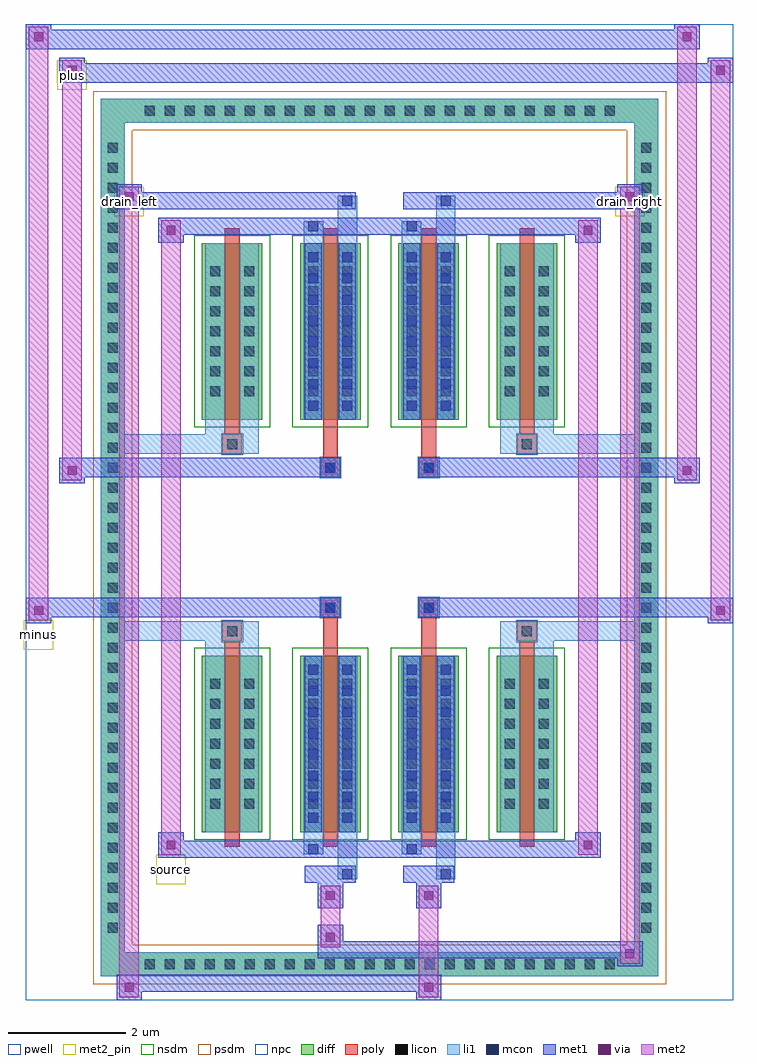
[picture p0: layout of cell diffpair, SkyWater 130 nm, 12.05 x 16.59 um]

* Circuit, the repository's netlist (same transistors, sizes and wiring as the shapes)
* NGSPICE file created from diffpair.ext - technology: sky130A

.subckt diffpair minus drain_right drain_left source plus
X0 a_n948_n1492# a_n948_n1492# a_n948_n1492# a_n948_n1492# sky130_fd_pr__nfet_01v8 ad=1.17 pd=6.78 as=9.36 ps=54.24 w=3 l=0.25
X1 drain_right minus source a_n948_n1492# sky130_fd_pr__nfet_01v8 ad=1.17 pd=6.78 as=1.17 ps=6.78 w=3 l=0.25
X2 a_n948_n1492# a_n948_n1492# a_n948_n1492# a_n948_n1492# sky130_fd_pr__nfet_01v8 ad=1.17 pd=6.78 as=0 ps=0 w=3 l=0.25
X3 a_n948_n1492# a_n948_n1492# a_n948_n1492# a_n948_n1492# sky130_fd_pr__nfet_01v8 ad=1.17 pd=6.78 as=0 ps=0 w=3 l=0.25
X4 drain_left plus source a_n948_n1492# sky130_fd_pr__nfet_01v8 ad=1.17 pd=6.78 as=1.17 ps=6.78 w=3 l=0.25
X5 drain_left plus source a_n948_n1492# sky130_fd_pr__nfet_01v8 ad=1.17 pd=6.78 as=1.17 ps=6.78 w=3 l=0.25
X6 drain_right minus source a_n948_n1492# sky130_fd_pr__nfet_01v8 ad=1.17 pd=6.78 as=1.17 ps=6.78 w=3 l=0.25
X7 a_n948_n1492# a_n948_n1492# a_n948_n1492# a_n948_n1492# sky130_fd_pr__nfet_01v8 ad=1.17 pd=6.78 as=0 ps=0 w=3 l=0.25
.ends

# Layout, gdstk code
import gdstk
lib = gdstk.Library(unit=1e-6, precision=5e-09)
def R(c, l, rs):  # rectangles x0, y0, x1, y1
    for r in rs: c.add(gdstk.rectangle(r[:2], r[2:], *l))
def A(c, l, x, y, w, h, nx, ny, dx, dy):  # array of equal rectangles
    R(c, l, [(x+i*dx, y+j*dy, x+i*dx+w, y+j*dy+h) for i in range(nx) for j in range(ny)])
def P(c, l, *ps):  # polygons
    for p in ps: c.add(gdstk.Polygon(p, *l))
pwell = (64, 44)
diff = (65, 20)
poly = (66, 20)
licon = (66, 44)
li1 = (67, 20)
mcon = (67, 44)
met1 = (68, 20)
via = (68, 44)
met2_pin = (69, 16)
met2 = (69, 20)
nsdm = (93, 44)
psdm = (94, 20)
npc = (95, 20)

diffpair = lib.new_cell('diffpair')
R(diffpair, pwell, [(-6.01,-7.86,6.01,8.73), (-3.33,-6.05,-0.01,-0.825), (0.01,-6.05,3.33,-0.825), (-3.33,0.825,-0.01,6.05), (0.01,0.825,3.33,6.05)])
A(diffpair, diff, -4.115, -7.46, 0.41, 0.41, 24, 2, 0.34, 14.51)
A(diffpair, diff, -4.74, -6.835, 0.41, 0.41, 1, 40, 0, 0.34)
A(diffpair, diff, 4.33, -6.835, 0.41, 0.41, 1, 40, 0, 0.34)
A(diffpair, diff, -3.02, -5.005, 1.03, 3, 4, 2, 1.67, 7.01)
R(diffpair, diff, [(-4.115,-7.46,4.115,-7.05), (-4.74,-6.835,-4.33,6.835), (4.33,-6.835,4.74,6.835), (-4.115,7.05,4.115,7.46)])
P(diffpair, diff, [(4.74,7.46),(-4.74,7.46),(-4.74,-7.05),(-4.33,-7.05),(-4.33,7.05),(4.33,7.05),(4.33,-7.05),(-4.33,-7.05),(-4.74,-7.05),(-4.74,-7.46),(4.74,-7.46)])
A(diffpair, poly, -2.63, -5.255, 0.25, 3.5, 4, 2, 1.67, 7.01)
R(diffpair, poly, [(-2.67,-1.755,-2.34,-1.425), (-2.67,-1.755,-2.34,-1.425), (-0.96,-1.755,-0.71,-1.355), (0.71,-1.755,0.96,-1.355), (2.34,-1.755,2.67,-1.425), (2.34,-1.755,2.67,-1.425), (-1,-1.355,-0.67,-1.025), (-1,-1.355,-0.67,-1.025), (0.67,-1.355,1,-1.025), (0.67,-1.355,1,-1.025), (-1,1.025,-0.67,1.355), (-1,1.025,-0.67,1.355), (0.67,1.025,1,1.355), (0.67,1.025,1,1.355), (-0.96,1.355,-0.71,1.755), (0.71,1.355,0.96,1.755), (-2.67,1.425,-2.34,1.755), (-2.67,1.425,-2.34,1.755), (2.34,1.425,2.67,1.755), (2.34,1.425,2.67,1.755)])
A(diffpair, licon, -3.995, -7.34, 0.17, 0.17, 24, 2, 0.34, 14.51)
A(diffpair, licon, -4.62, -6.715, 0.17, 0.17, 1, 40, 0, 0.34)
A(diffpair, licon, 4.45, -6.715, 0.17, 0.17, 1, 40, 0, 0.34)
A(diffpair, licon, -2.88, -4.61, 0.17, 0.17, 1, 7, 0, 0.34)
A(diffpair, licon, -2.3, -4.61, 0.17, 0.17, 1, 7, 0, 0.34)
A(diffpair, licon, -1.21, -4.61, 0.17, 0.17, 1, 7, 0, 0.34)
A(diffpair, licon, -0.63, -4.61, 0.17, 0.17, 1, 7, 0, 0.34)
A(diffpair, licon, 0.46, -4.61, 0.17, 0.17, 1, 7, 0, 0.34)
A(diffpair, licon, 1.04, -4.61, 0.17, 0.17, 1, 7, 0, 0.34)
A(diffpair, licon, 2.13, -4.61, 0.17, 0.17, 1, 7, 0, 0.34)
A(diffpair, licon, 2.71, -4.61, 0.17, 0.17, 1, 7, 0, 0.34)
A(diffpair, licon, -2.88, 2.4, 0.17, 0.17, 1, 7, 0, 0.34)
A(diffpair, licon, -2.3, 2.4, 0.17, 0.17, 1, 7, 0, 0.34)
A(diffpair, licon, -1.21, 2.4, 0.17, 0.17, 1, 7, 0, 0.34)
A(diffpair, licon, -0.63, 2.4, 0.17, 0.17, 1, 7, 0, 0.34)
A(diffpair, licon, 0.46, 2.4, 0.17, 0.17, 1, 7, 0, 0.34)
A(diffpair, licon, 1.04, 2.4, 0.17, 0.17, 1, 7, 0, 0.34)
A(diffpair, licon, 2.13, 2.4, 0.17, 0.17, 1, 7, 0, 0.34)
A(diffpair, licon, 2.71, 2.4, 0.17, 0.17, 1, 7, 0, 0.34)
R(diffpair, licon, [(-2.59,-1.675,-2.42,-1.505), (2.42,-1.675,2.59,-1.505), (-0.92,-1.275,-0.75,-1.105), (0.75,-1.275,0.92,-1.105), (-0.92,1.105,-0.75,1.275), (0.75,1.105,0.92,1.275), (-2.59,1.505,-2.42,1.675), (2.42,1.505,2.59,1.675)])
A(diffpair, li1, -4.075, -7.42, 0.33, 0.33, 24, 2, 0.34, 14.51)
A(diffpair, li1, -4.7, -6.795, 0.33, 0.33, 1, 40, 0, 0.34)
A(diffpair, li1, 4.37, -6.795, 0.33, 0.33, 1, 40, 0, 0.34)
A(diffpair, li1, -1.21, -4.85, 0.17, 0.17, 1, 8, 0, 0.36)
A(diffpair, li1, -0.63, -4.85, 0.17, 0.17, 1, 8, 0, 0.36)
A(diffpair, li1, 0.46, -4.85, 0.17, 0.17, 1, 8, 0, 0.36)
A(diffpair, li1, 1.04, -4.85, 0.17, 0.17, 1, 8, 0, 0.36)
A(diffpair, li1, -2.96, -4.69, 0.33, 0.33, 1, 7, 0, 0.34)
A(diffpair, li1, -2.38, -4.69, 0.33, 0.33, 1, 7, 0, 0.34)
A(diffpair, li1, -1.29, -4.69, 0.33, 0.33, 1, 7, 0, 0.34)
A(diffpair, li1, -0.71, -4.69, 0.33, 0.33, 1, 7, 0, 0.34)
A(diffpair, li1, 0.38, -4.69, 0.33, 0.33, 1, 7, 0, 0.34)
A(diffpair, li1, 0.96, -4.69, 0.33, 0.33, 1, 7, 0, 0.34)
A(diffpair, li1, 2.05, -4.69, 0.33, 0.33, 1, 7, 0, 0.34)
A(diffpair, li1, 2.63, -4.69, 0.33, 0.33, 1, 7, 0, 0.34)
A(diffpair, li1, -1.21, 2.16, 0.17, 0.17, 1, 8, 0, 0.36)
A(diffpair, li1, -0.63, 2.16, 0.17, 0.17, 1, 8, 0, 0.36)
A(diffpair, li1, 0.46, 2.16, 0.17, 0.17, 1, 8, 0, 0.36)
A(diffpair, li1, 1.04, 2.16, 0.17, 0.17, 1, 8, 0, 0.36)
A(diffpair, li1, -2.96, 2.32, 0.33, 0.33, 1, 7, 0, 0.34)
A(diffpair, li1, -2.38, 2.32, 0.33, 0.33, 1, 7, 0, 0.34)
A(diffpair, li1, -1.29, 2.32, 0.33, 0.33, 1, 7, 0, 0.34)
A(diffpair, li1, -0.71, 2.32, 0.33, 0.33, 1, 7, 0, 0.34)
A(diffpair, li1, 0.38, 2.32, 0.33, 0.33, 1, 7, 0, 0.34)
A(diffpair, li1, 0.96, 2.32, 0.33, 0.33, 1, 7, 0, 0.34)
A(diffpair, li1, 2.05, 2.32, 0.33, 0.33, 1, 7, 0, 0.34)
A(diffpair, li1, 2.63, 2.32, 0.33, 0.33, 1, 7, 0, 0.34)
R(diffpair, li1, [(-4.74,-7.46,-4.33,-7.05), (-4.74,-7.46,-4.33,-7.05), (-4.33,-7.46,4.33,-7.05), (4.33,-7.46,4.74,-7.05), (4.33,-7.46,4.74,-7.05), (-4.74,-7.05,-4.33,7.05), (4.33,-7.05,4.74,7.05), (-0.71,-5.81,-0.38,-5.005), (-0.63,-5.81,-0.46,-5.64), (0.96,-5.81,1.29,-5.005), (1.04,-5.81,1.21,-5.64), (-1.29,-5.38,-0.96,-5.005), (-1.21,-5.38,-1.04,-5.21), (0.38,-5.38,0.71,-5.005), (0.46,-5.38,0.63,-5.21), (-2.96,-5.005,-2.63,-2.005), (-2.38,-5.005,-2.05,-2.005), (-1.29,-5.005,-0.96,-2.005), (-0.71,-5.005,-0.38,-2.005), (0.38,-5.005,0.71,-2.005), (0.96,-5.005,1.29,-2.005), (2.05,-5.005,2.38,-2.005), (2.63,-5.005,2.96,-2.005), (-1.21,-4.85,-1.04,-2.16), (-0.63,-4.85,-0.46,-2.16), (0.46,-4.85,0.63,-2.16), (1.04,-4.85,1.21,-2.16), (-2.96,-2.005,-2.63,-1.425), (-2.38,-2.005,-2.05,-1.425), (2.05,-2.005,2.38,-1.425), (2.63,-2.005,2.96,-1.425), (-4.74,-1.755,-2.67,-1.425), (-2.96,-1.755,-2.67,-1.425), (-2.67,-1.755,-2.34,-1.425), (-2.34,-1.755,-2.05,-1.425), (2.05,-1.755,2.34,-1.425), (2.34,-1.755,2.67,-1.425), (2.34,-1.755,4.74,-1.425), (2.67,-1.755,2.96,-1.425), (-1,-1.355,-0.67,-1.025), (0.67,-1.355,1,-1.025), (-1,1.025,-0.67,1.355), (0.67,1.025,1,1.355), (-4.74,1.425,-2.67,1.755), (-2.96,1.425,-2.67,1.755), (-2.96,1.425,-2.63,2.005), (-2.67,1.425,-2.34,1.755), (-2.38,1.425,-2.05,2.005), (-2.34,1.425,-2.05,1.755), (2.05,1.425,2.34,1.755), (2.05,1.425,2.38,2.005), (2.34,1.425,2.67,1.755), (2.34,1.425,4.74,1.755), (2.63,1.425,2.96,2.005), (2.67,1.425,2.96,1.755), (-2.96,2.005,-2.63,5.005), (-2.38,2.005,-2.05,5.005), (-1.29,2.005,-0.96,5.005), (-0.71,2.005,-0.38,5.005), (0.38,2.005,0.71,5.005), (0.96,2.005,1.29,5.005), (2.05,2.005,2.38,5.005), (2.63,2.005,2.96,5.005), (-1.21,2.16,-1.04,4.85), (-0.63,2.16,-0.46,4.85), (0.46,2.16,0.63,4.85), (1.04,2.16,1.21,4.85), (-1.29,5.005,-0.96,5.38), (-0.71,5.005,-0.38,5.81), (0.38,5.005,0.71,5.38), (0.96,5.005,1.29,5.81), (-1.21,5.21,-1.04,5.38), (0.46,5.21,0.63,5.38), (-0.63,5.64,-0.46,5.81), (1.04,5.64,1.21,5.81), (-4.74,7.05,-4.33,7.46), (-4.74,7.05,-4.33,7.46), (-4.33,7.05,4.33,7.46), (4.33,7.05,4.74,7.46), (4.33,7.05,4.74,7.46)])
A(diffpair, mcon, -1.21, -4.85, 0.17, 0.17, 1, 8, 0, 0.36)
A(diffpair, mcon, -0.63, -4.85, 0.17, 0.17, 1, 8, 0, 0.36)
A(diffpair, mcon, 0.46, -4.85, 0.17, 0.17, 1, 8, 0, 0.36)
A(diffpair, mcon, 1.04, -4.85, 0.17, 0.17, 1, 8, 0, 0.36)
A(diffpair, mcon, -1.21, 2.16, 0.17, 0.17, 1, 8, 0, 0.36)
A(diffpair, mcon, -0.63, 2.16, 0.17, 0.17, 1, 8, 0, 0.36)
A(diffpair, mcon, 0.46, 2.16, 0.17, 0.17, 1, 8, 0, 0.36)
A(diffpair, mcon, 1.04, 2.16, 0.17, 0.17, 1, 8, 0, 0.36)
R(diffpair, mcon, [(-0.63,-5.81,-0.46,-5.64), (1.04,-5.81,1.21,-5.64), (-1.21,-5.38,-1.04,-5.21), (0.46,-5.38,0.63,-5.21), (-0.92,-1.275,-0.75,-1.105), (0.75,-1.275,0.92,-1.105), (-0.92,1.105,-0.75,1.275), (0.75,1.105,0.92,1.275), (-1.21,5.21,-1.04,5.38), (0.46,5.21,0.63,5.38), (-0.63,5.64,-0.46,5.81), (1.04,5.64,1.21,5.81)])
A(diffpair, met1, -1.27, -4.91, 0.29, 0.29, 1, 8, 0, 0.36)
A(diffpair, met1, -0.69, -4.91, 0.29, 0.29, 1, 8, 0, 0.36)
A(diffpair, met1, 0.4, -4.91, 0.29, 0.29, 1, 8, 0, 0.36)
A(diffpair, met1, 0.98, -4.91, 0.29, 0.29, 1, 8, 0, 0.36)
A(diffpair, met1, -1.27, 2.1, 0.29, 0.29, 1, 8, 0, 0.36)
A(diffpair, met1, -0.69, 2.1, 0.29, 0.29, 1, 8, 0, 0.36)
A(diffpair, met1, 0.4, 2.1, 0.29, 0.29, 1, 8, 0, 0.36)
A(diffpair, met1, 0.98, 2.1, 0.29, 0.29, 1, 8, 0, 0.36)
R(diffpair, met1, [(-4.47,-7.86,-4.04,-7.43), (0.62,-7.86,1.05,-7.43), (-4.47,-7.72,1.05,-7.43), (4.04,-7.29,4.47,-6.86), (-1.05,-7.15,4.47,-6.86), (-1.05,-7.01,-0.62,-6.58), (-1.05,-6.3,-0.62,-5.87), (0.62,-6.3,1.05,-5.87), (-1.27,-5.87,-0.4,-5.58), (-0.69,-5.87,-0.4,-5.58), (0.4,-5.87,1.27,-5.58), (0.98,-5.87,1.27,-5.58), (-3.76,-5.44,-3.33,-5.01), (-3.76,-5.44,-1.27,-5.15), (-1.27,-5.44,-0.98,-5.15), (-1.27,-5.44,-0.4,-5.15), (-0.4,-5.44,0.4,-5.15), (0.4,-5.44,0.69,-5.15), (0.4,-5.44,1.27,-5.15), (1.27,-5.44,3.76,-5.15), (3.33,-5.44,3.76,-5.01), (-1.27,-5.005,-0.98,-2.005), (-0.69,-5.005,-0.4,-2.005), (0.4,-5.005,0.69,-2.005), (0.98,-5.005,1.27,-2.005), (-6.01,-1.455,-5.58,-1.025), (5.58,-1.455,6.01,-1.025), (-6.01,-1.355,-0.67,-1.025), (-1,-1.355,-0.67,-1.025), (0.67,-1.355,1,-1.025), (0.67,-1.355,6.01,-1.025), (-0.98,-1.335,-0.69,-1.045), (0.69,-1.335,0.98,-1.045), (-5.44,0.925,-5.01,1.355), (5.01,0.925,5.44,1.355), (-5.44,1.025,-1,1.355), (-1,1.025,-0.67,1.355), (0.67,1.025,1,1.355), (1,1.025,5.44,1.355), (-0.98,1.045,-0.69,1.335), (0.69,1.045,0.98,1.335), (-1.27,2.005,-0.98,5.005), (-0.69,2.005,-0.4,5.005), (0.4,2.005,0.69,5.005), (0.98,2.005,1.27,5.005), (-3.76,5.01,-3.33,5.44), (3.33,5.01,3.76,5.44), (-3.76,5.15,-1.27,5.44), (-1.27,5.15,-0.98,5.44), (-1.27,5.15,-0.4,5.44), (-0.4,5.15,0.4,5.44), (0.4,5.15,0.69,5.44), (0.4,5.15,1.27,5.44), (1.27,5.15,3.76,5.44), (-4.47,5.58,-4.04,6.01), (-4.47,5.58,-1.27,5.87), (-1.27,5.58,-0.4,5.87), (-0.69,5.58,-0.4,5.87), (0.4,5.58,1.27,5.87), (0.98,5.58,1.27,5.87), (1.27,5.58,4.47,5.87), (4.04,5.58,4.47,6.01), (-5.44,7.73,-5.01,8.16), (-5.44,7.73,-3.33,8.06), (-3.33,7.73,3.33,8.06), (3.33,7.73,6.01,8.06), (5.58,7.73,6.01,8.16), (-6.01,8.3,-5.58,8.73), (-6.01,8.3,-3.33,8.63), (-3.33,8.3,3.33,8.63), (3.33,8.3,5.44,8.63), (5.01,8.3,5.44,8.73)])
R(diffpair, via, [(-4.33,-7.72,-4.18,-7.57), (0.76,-7.72,0.91,-7.57), (4.18,-7.15,4.33,-7), (-0.91,-6.87,-0.76,-6.72), (-0.91,-6.16,-0.76,-6.01), (0.76,-6.16,0.91,-6.01), (-3.62,-5.3,-3.47,-5.15), (3.47,-5.3,3.62,-5.15), (-5.87,-1.315,-5.72,-1.165), (5.72,-1.315,5.87,-1.165), (-5.3,1.065,-5.15,1.215), (5.15,1.065,5.3,1.215), (-3.62,5.15,-3.47,5.3), (3.47,5.15,3.62,5.3), (-4.33,5.72,-4.18,5.87), (4.18,5.72,4.33,5.87), (-5.3,7.87,-5.15,8.02), (5.72,7.87,5.87,8.02), (-5.87,8.44,-5.72,8.59), (5.15,8.44,5.3,8.59)])
R(diffpair, met2_pin, [(-3.795,-5.89,-3.295,-5.39), (-6.045,-1.905,-5.545,-1.405), (-4.505,5.46,-4.005,5.96), (4.005,5.46,4.505,5.96), (-5.475,7.61,-4.975,8.11)])
R(diffpair, met2, [(-4.42,-7.81,-4.09,-7.48), (-4.42,-7.81,-4.09,5.96), (0.67,-7.81,1,-7.48), (0.67,-7.48,1,-6.25), (4.09,-7.24,4.42,-6.91), (4.09,-7.24,4.42,5.96), (-1,-6.96,-0.67,-6.63), (-1,-6.63,-0.67,-6.25), (-1,-6.25,-0.67,-5.92), (0.67,-6.25,1,-5.92), (-3.71,-5.39,-3.38,-5.06), (-3.71,-5.39,-3.38,5.39), (3.38,-5.39,3.71,-5.06), (3.38,-5.39,3.71,5.39), (-5.96,-1.405,-5.63,-1.075), (-5.96,-1.405,-5.63,8.68), (5.63,-1.405,5.96,-1.075), (5.63,-1.405,5.96,8.11), (-5.39,0.975,-5.06,1.305), (-5.39,0.975,-5.06,8.11), (5.06,0.975,5.39,1.305), (5.06,0.975,5.39,8.68), (-3.71,5.06,-3.38,5.39), (3.38,5.06,3.71,5.39), (-4.42,5.63,-4.09,5.96), (4.09,5.63,4.42,5.96), (-5.39,7.78,-5.06,8.11), (5.63,7.78,5.96,8.11), (-5.96,8.35,-5.63,8.68), (5.06,8.35,5.39,8.68)])
P(diffpair, met2, [(5.96,-1.405),(5.96,-1.405),(5.96,-1.075),(5.96,-1.075)],
  [(5.96,7.78),(5.96,7.78),(5.96,8.11),(5.96,8.11)],
  [(-5.63,-1.405),(-5.63,-1.405),(-5.63,-1.075),(-5.63,-1.075)],
  [(-5.63,8.35),(-5.63,8.35),(-5.63,8.68),(-5.63,8.68)],
  [(5.39,0.975),(5.39,0.975),(5.39,1.305),(5.39,1.305)],
  [(5.39,8.35),(5.39,8.35),(5.39,8.68),(5.39,8.68)],
  [(-5.06,0.975),(-5.06,0.975),(-5.06,1.305),(-5.06,1.305)],
  [(-5.06,7.78),(-5.06,7.78),(-5.06,8.11),(-5.06,8.11)],
  [(-4.09,-7.81),(-4.09,-7.81),(-4.09,-7.48),(-4.09,-7.48)],
  [(-4.09,5.63),(-4.09,5.63),(-4.09,5.96),(-4.09,5.96)],
  [(4.42,-7.24),(4.42,-7.24),(4.42,-6.91),(4.42,-6.91)],
  [(4.42,5.63),(4.42,5.63),(4.42,5.96),(4.42,5.96)],
  [(-3.38,-5.39),(-3.38,-5.39),(-3.38,-5.06),(-3.38,-5.06)],
  [(-3.38,5.06),(-3.38,5.06),(-3.38,5.39),(-3.38,5.39)],
  [(3.71,-5.39),(3.71,-5.39),(3.71,-5.06),(3.71,-5.06)],
  [(3.71,5.06),(3.71,5.06),(3.71,5.39),(3.71,5.39)])
A(diffpair, nsdm, -3.15, -5.135, 1.29, 3.26, 4, 2, 1.67, 7.01)
P(diffpair, psdm, [(4.87,7.59),(-4.87,7.59),(-4.87,-6.92),(-4.2,-6.92),(-4.2,6.92),(4.2,6.92),(4.2,-6.92),(-4.2,-6.92),(-4.87,-6.92),(-4.87,-7.59),(4.87,-7.59)])
R(diffpair, npc, [(-2.69,-1.775,-2.32,-1.405), (2.32,-1.775,2.69,-1.405), (-1.02,-1.375,-0.65,-1.005), (0.65,-1.375,1.02,-1.005), (-1.02,1.005,-0.65,1.375), (0.65,1.005,1.02,1.375), (-2.69,1.405,-2.32,1.775), (2.32,1.405,2.69,1.775)])
diffpair.add(gdstk.Label('minus', (-5.795,-1.655), layer=69, texttype=5))
diffpair.add(gdstk.Label('drain_right', (4.255,5.71), layer=69, texttype=5))
diffpair.add(gdstk.Label('drain_left', (-4.255,5.71), layer=69, texttype=5))
diffpair.add(gdstk.Label('source', (-3.545,-5.64), layer=69, texttype=5))
diffpair.add(gdstk.Label('plus', (-5.225,7.86), layer=69, texttype=5))

lib.write_gds('diffpair.gds')
